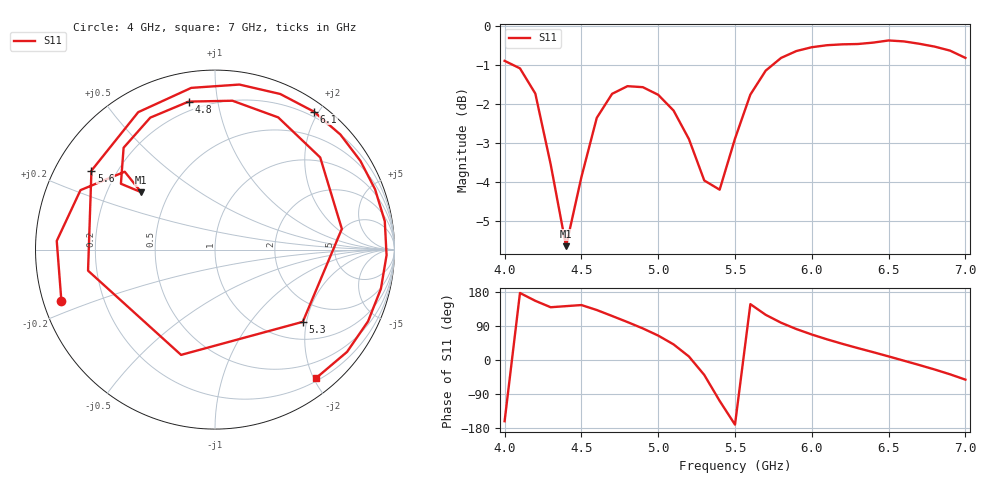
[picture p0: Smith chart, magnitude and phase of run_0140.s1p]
! Touchstone file exported from HFSS 2024.2.0
!  File:  C:/Users/wsak9/Desktop/Sim Fast/Widenad Patch/WP_AI_V1_sweep.aedt
!  Generated:  08:46:21 PM Oct 13, 2026
!  Design:  A1_model
!  Project:  WP_AI_V1_sweep
!  Setup:  Setup1
!  Solution:  Sweep
! Variables:
!  Air_gap = 4.93mm
!  Curve_Amp1 = 3.84
!  Curve_len1 = 1
!  Curve_pos = 12.815mm
!  Extra = 1.06mm
!  H_sub = 0.79mm
!  L_Patch = 21.63mm
!  L_Patch1 = 13.46mm
!  Sx = 2.33mm
!  Sy = 0.47mm
!  WS = 0.59mm
!  W_Patch = 20.86mm
!  W_Patch1 = 12.4mm
!Data is not renormalized
# GHz S MA
! Terminal data exported
! Port[1] = 1
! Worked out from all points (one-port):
!   31 points, 4 GHz to 7 GHz, reference per port
!   lowest |S11| = -5.7 dB at 4.4 GHz (marker M1), VSWR 3.18
!   |S11| at or under -10 dB: nowhere
!   S11 on the Smith chart (normalised r, x): 4 GHz: 0.05, -0.16; 4.8 GHz: 0.15, +0.83; 5.3 GHz: 1.42, -1.90; 5.6 GHz: 0.11, +0.29; 6.1 GHz: 0.13, +1.94; 7 GHz: 0.24, -2.04
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4  0.9028 -161.4
4.1  0.883 176.9
4.2  0.8194 156.2
4.3  0.6643 139.2
4.4  0.5214 142.1
4.5  0.6398 145.0
4.6  0.7626 131.9
4.7  0.8189 116.1
4.8  0.8376 100.1
4.9  0.8351 83.3
5  0.8164 64.4
5.1  0.7792 41.2
5.2  0.7161 9.3
5.3  0.6334 -39.4
5.4  0.6163 -107.9
5.5  0.717 -170.6
5.6  0.817 147.4
5.7  0.8771 119.2
5.8  0.9107 98.3
5.9  0.9295 81.6
6  0.9401 67.3
6.1  0.9457 54.4
6.3  0.949 31.4
6.5  0.9591 9.5
6.7  0.9497 -13.3
6.8  0.9417 -25.1
6.9  0.9306 -37.8
7  0.9108 -51.8
